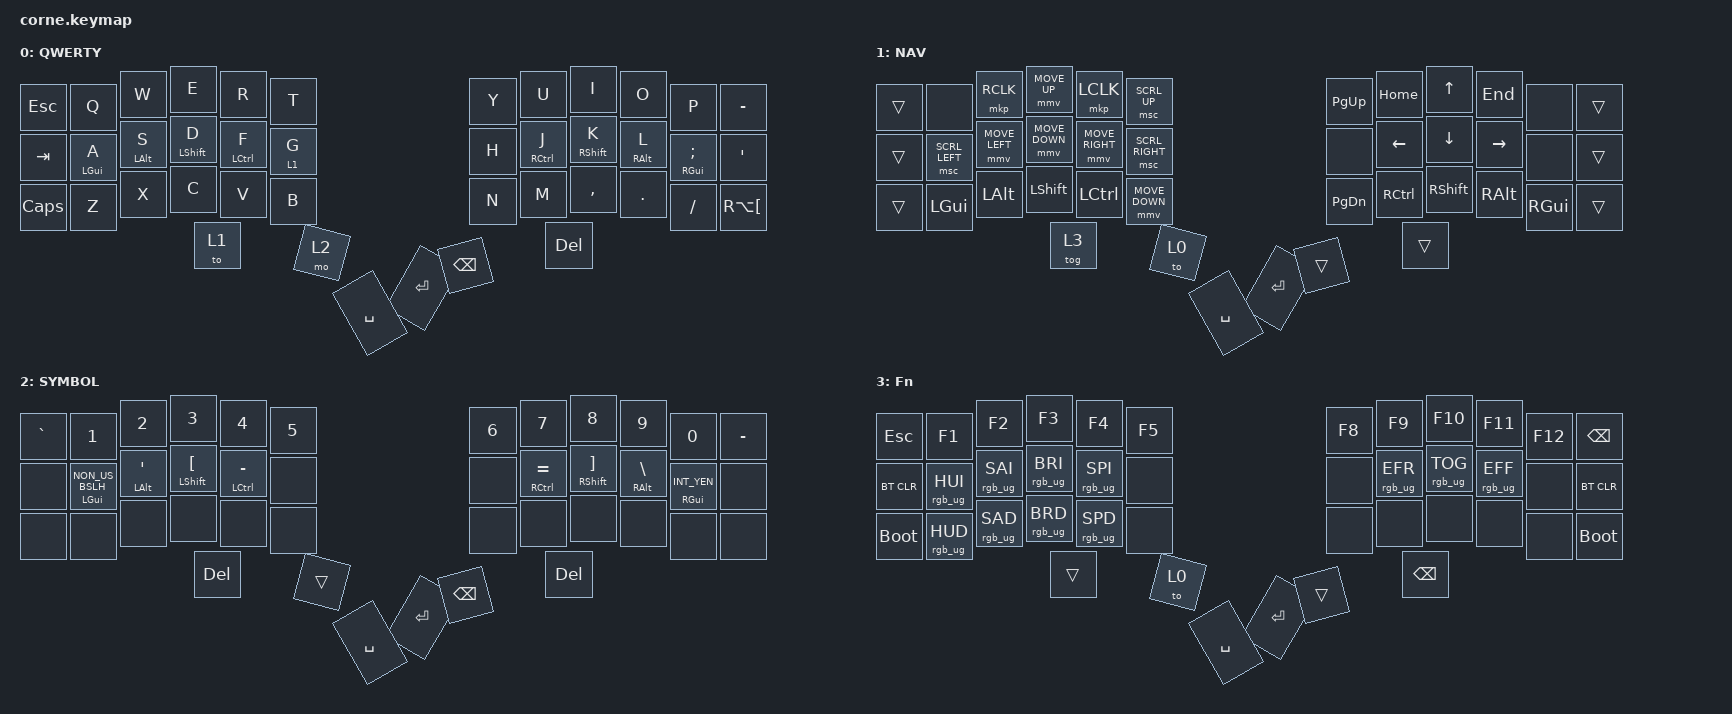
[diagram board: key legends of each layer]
/*
 * Copyright (c) 2020 The ZMK Contributors
 *
 * SPDX-License-Identifier: MIT
 *
 * Adapted from QMK LAYOUT_split_3x6_3_ex2 keymap.
 * The 4 extra keys (2 per half, between the halves) have been removed
 * to fit the standard 42-key Corne layout.
 *
 * Mouse keys (mkp, mmv, msc) require CONFIG_ZMK_POINTING=y in corne.conf.
 */

#include <behaviors.dtsi>
#include <dt-bindings/zmk/bt.h>
#include <dt-bindings/zmk/keys.h>
#include <dt-bindings/zmk/ext_power.h>
#include <dt-bindings/zmk/outputs.h>
#include <dt-bindings/zmk/pointing.h>
#include <dt-bindings/zmk/rgb.h>

/* ── Extended tapping-term timers ─────────────────────────────────────────── */

/* Mod-tap: Settings to try to reduce accidenta setting off of home row mods */
&mt {
    tapping-term-ms = <280>;
    quick-tap-ms = <175>;
    require-prior-idle-ms = <150>;
    flavor = "balanced";
};

/* Layer-tap: similar with what is setup for mod-tap */
&lt {
    tapping-term-ms = <280>;
    quick-tap-ms = <175>;
    require-prior-idle-ms = <150>;
};

/* ── Mouse / scroll tuning ────────────────────────────────────────────────── */

&mmv {
    time-to-max-speed-ms = <500>;
    acceleration-exponent = <1>;
    trigger-period-ms = <16>;
};

&msc {
    acceleration-exponent = <1>;
    time-to-max-speed-ms = <100>;
    delay-ms = <0>;
};

/ {
    behaviors {
        td0: td0 {
            compatible = "zmk,behavior-tap-dance";
            label = "TD0";
            #binding-cells = <0>;
            bindings = <&kp LEFT_SHIFT>, <&kp CAPS>;
        };

        
        /* ── Custom behavior for homerow shift ────────────────────────────────────── */
        hs: homerow_shift {
            // For SHIFT only — snappy, keeps up with fast typing
            compatible = "zmk,behavior-hold-tap";
            #binding-cells = <2>;
            tapping-term-ms = <200>;
            quick-tap-ms = <150>;
            require-prior-idle-ms = <50>;
            flavor = "balanced";
            bindings = <&kp>, <&kp>;
        };
    };

    keymap {
        compatible = "zmk,keymap";

        default_layer {
            display-name = "QWERTY";
            // ─────────────────────────────────────────────────────────────────
            // | ESC  |  Q       |  W       |  E       |  R       |  T       |   |  Y  |  U       |  I       |  O       |  P       |  -       |
            // | TAB  | LGUI/A   | LALT/S   | LSFT/D   | LCTL/F   | NAV/G    |   |  H  | RCTL/J   | RSFT/K   | RALT/L   | RGUI/;   |  '       |
            // | CAPS |  Z       |  X       |  C       |  V       |  B       |   |  N  |  M       |  ,       |  .       |  /       | RA([)    |
            //                              |  TO 1    |  MO 2    |  ENT     |   | SPC | BSPC     | DEL      |

            bindings = <
&kp ESC       &kp Q       &kp W       &kp E        &kp R        &kp T          &kp Y    &kp U        &kp I        &kp O       &kp P          &kp MINUS
&kp TAB       &mt LGUI A  &mt LALT S  &hs LSHFT D  &mt LCTRL F  &lt 1 G        &kp H    &mt RCTRL J  &hs RSHFT K  &mt RALT L  &mt RGUI SEMI  &kp SQT
&kp CAPSLOCK  &kp Z       &kp X       &kp C        &kp V        &kp B          &kp N    &kp M        &kp COMMA    &kp DOT     &kp FSLH       &kp RA(LBKT)
                                       &to 1        &mo 2        &kp ENTER      &kp SPACE  &kp BSPC   &kp DEL
            >;
        };

        lower_layer {
            display-name = "NAV";
            // ─────────────────────────────────────────────────────────────────
            // | &trans | ---      | MBtn2    | M↑       | MBtn1    | MScr↑  |   | PgUp | Home   | Up     | End    | ---   | &trans |
            // | &trans | MScr←    | M←       | M↓       | M→       | MScr→  |   | ---  | Left   | Down   | Right  | ---   | &trans |
            // | &trans | LGUI     | LALT     | LSFT     | LCTL     | M↓     |   | PgDn | RCTL   | RSFT   | RALT   | RGUI  | &trans |
            //                               | TG 3     | TO 0     | ENT    |   | SPC  | &trans | &trans |

            bindings = <
&trans  &none            &mkp RCLK        &mmv MOVE_UP    &mkp LCLK        &msc SCRL_UP      &kp PG_UP  &kp HOME   &kp UP     &kp END    &none     &trans
&trans  &msc SCRL_LEFT   &mmv MOVE_LEFT   &mmv MOVE_DOWN  &mmv MOVE_RIGHT  &msc SCRL_RIGHT   &none      &kp LEFT   &kp DOWN   &kp RIGHT  &none     &trans
&trans  &kp LGUI         &kp LALT         &kp LSHFT       &kp LCTRL        &mmv MOVE_DOWN     &kp PG_DN  &kp RCTRL  &kp RSHFT  &kp RALT   &kp RGUI  &trans
                                           &tog 3          &to 0            &kp ENTER          &kp SPACE  &trans     &trans
            >;
        };

        raise_layer {
            display-name = "SYMBOL";
            // ─────────────────────────────────────────────────────────────────
            // |  `   |  1         |  2         |  3         |  4         |  5   |   |  6   |  7         |  8         |  9         |  0         |  -   |
            // | ---  | LGUI/NUBS  | LALT/'     | LSFT/[     | LCTL/-     | ---  |   | ---  | RCTL/=     | RSFT/]     | RALT/\     | RGUI/INT1  | ---  |
            // | ---  | ---        | ---        | ---        | ---        | ---  |   | ---  | ---        | ---        | ---        | ---        | ---  |
            //                                  | DEL        | &trans     | ENT  |   | SPC  | BSPC       | DEL        |

            bindings = <
&kp GRAVE  &kp N1                  &kp N2          &kp N3          &kp N4          &kp N5       &kp N6  &kp N7          &kp N8          &kp N9          &kp N0           &kp MINUS
&none      &mt LGUI NON_US_BSLH    &mt LALT SQT    &mt LSHFT LBKT  &mt LCTRL MINUS &none        &none   &mt RCTRL EQUAL &mt RSHFT RBKT  &mt RALT BSLH   &mt RGUI INT_YEN &none
&none      &none                   &none           &none           &none           &none        &none   &none           &none           &none           &none            &none
                                                    &kp DEL         &trans          &kp ENTER    &kp SPACE  &kp BSPC     &kp DEL
            >;
        };

        fn_layer {
            display-name = "Fn";
            // ─────────────────────────────────────────────────────────────────
            // | ESC       | F1      | F2      | F3      | F4      | F5       |   | F8      | F9      | F10     | F11     | F12     | BSPC        |
            // | &bt CLR   | HUE+    | SAT+    | BRI+    | SPD+    | ---      |   | ---     | RGB←    | RGB TOG | RGB→    | ---     | &bt CLR     |
            // | BOOT      | HUE-    | SAT-    | BRI-    | SPD-    | ---      |   | ---     | ---     | ---     | ---     | ---     | BOOT        |
            //                                 | &trans  | TO 0    | ENT      |   | SPC     | &trans  | BSPC    |
            //
            // NOTE: QMK CG_SWAP / CG_NORM (Ctrl↔GUI swap) have no direct
            // ZMK equivalent. Use OS-level settings or a combo instead.
            // QMK EE_CLR mapped to &bt BT_CLR (closest useful equivalent).

            bindings = <
&kp ESC      &kp F1           &kp F2           &kp F3           &kp F4           &kp F5             &kp F8   &kp F9           &kp F10          &kp F11          &kp F12  &kp BSPC
&bt BT_CLR   &rgb_ug RGB_HUI  &rgb_ug RGB_SAI  &rgb_ug RGB_BRI  &rgb_ug RGB_SPI  &none              &none    &rgb_ug RGB_EFR  &rgb_ug RGB_TOG  &rgb_ug RGB_EFF  &none    &bt BT_CLR
&bootloader  &rgb_ug RGB_HUD  &rgb_ug RGB_SAD  &rgb_ug RGB_BRD  &rgb_ug RGB_SPD  &none              &none    &none            &none            &none            &none    &bootloader
                                                &trans           &to 0            &kp ENTER          &kp SPACE  &trans         &kp BSPC
            >;
        };
    };
};
